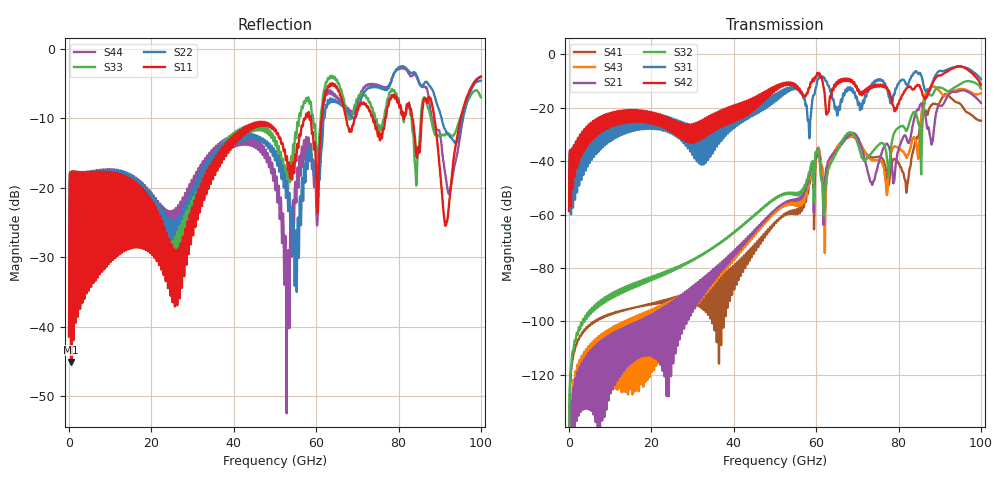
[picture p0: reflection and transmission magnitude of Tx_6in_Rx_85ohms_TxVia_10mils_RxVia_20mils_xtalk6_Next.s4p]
! Info: Touchstone file created by Circ.  Input file=Tx_6in_Rx_85ohms_TxVia_10mils_RxVia_20mils.circ
# Hz S RI R 50
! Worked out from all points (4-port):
!   10000 points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, 10 MHz to 100 GHz, reference 50 ohm
!   strongest paths, dB at 10 MHz, 25.01 GHz, 50.01 GHz, 75.01 GHz, 100 GHz:
!     S42: -58.6, -27.5, -12.0, -11.3, -11.5
!     S31: -58.6, -27.9, -15.0, -9.4, -9.4
!     S32: -144.6, -80.4, -54.0, -34.1, -12.9
!     S21: -160.4, -92.5, -58.3, -41.4, -18.2
!     S43: -146.6, -92.7, -59.1, -39.7, -14.6
!     S41: -144.8, -91.2, -62.9, -38.3, -24.9
!   lowest |S11| = -45.1 dB at 530 MHz (marker M1), VSWR 1.01, Z = 49.5 - j0.109 ohm
!   |S11| at or under -10 dB: start of sweep to 57.39 GHz; 73.78 GHz to 76.75 GHz (2.964 GHz wide, 3.94 % of centre); 88.74 GHz to 95.15 GHz (6.402 GHz wide, 6.96 % of centre) (the widest 3 of 8)
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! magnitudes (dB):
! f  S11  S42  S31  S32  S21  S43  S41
! 10 MHz  -41.4  -58.6  -58.6  -144.6  -160.4  -146.6  -144.8
! 530 MHz  -45.1  -42.9  -43.0  -116.7  -130.1  -127.4  -117.7
! 37.6 GHz  -15.9  -23.8  -25.6  -69.4  -77.3  -79.7  -84.3
! 60.39 GHz  -23.5  -7.1  -9.2  -35.6  -35.5  -35.1  -36.0
! 77.09 GHz  -9.4  -12.3  -12.8  -37.5  -33.4  -51.6  -45.4
! 87.92 GHz  -7.4  -11.9  -12.2  -15.5  -33.4  -12.4  -19.0
! 100 GHz  -4.0  -11.5  -9.4  -12.9  -18.2  -14.6  -24.9
